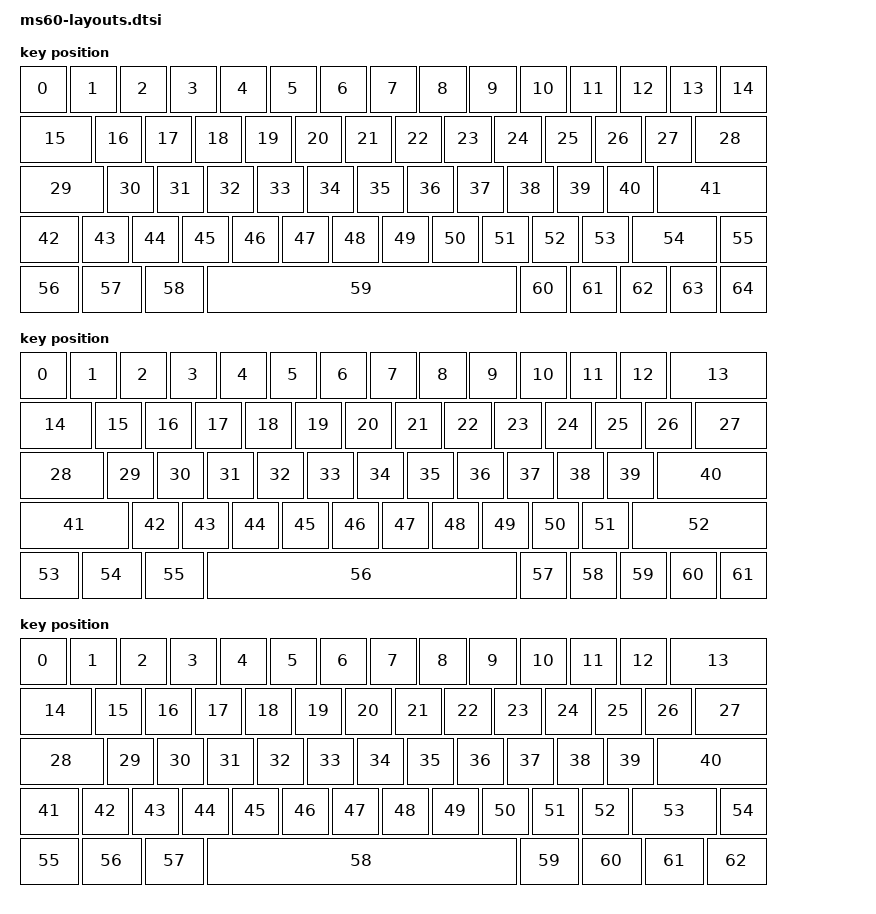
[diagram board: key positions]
#include <physical_layouts.dtsi>
/ {

    // All
    ms60_all: ms60_all {
        compatible = "zmk,physical-layout";
        display-name = "All Layout support";
	transform = <&ms60_all_transform>;
        keys  //                     w   h    x    y     rot    rx    ry
            = <&key_physical_attrs 100 100    0    0       0     0     0>
            , <&key_physical_attrs 100 100  100    0       0     0     0>
            , <&key_physical_attrs 100 100  200    0       0     0     0>
            , <&key_physical_attrs 100 100  300    0       0     0     0>
            , <&key_physical_attrs 100 100  400    0       0     0     0>
            , <&key_physical_attrs 100 100  500    0       0     0     0>
            , <&key_physical_attrs 100 100  600    0       0     0     0>
            , <&key_physical_attrs 100 100  700    0       0     0     0>
            , <&key_physical_attrs 100 100  800    0       0     0     0>
            , <&key_physical_attrs 100 100  900    0       0     0     0>
            , <&key_physical_attrs 100 100 1000    0       0     0     0>
            , <&key_physical_attrs 100 100 1100    0       0     0     0>
            , <&key_physical_attrs 100 100 1200    0       0     0     0>
            , <&key_physical_attrs 100 100 1300    0       0     0     0>
            , <&key_physical_attrs 100 100 1400    0       0     0     0>
            , <&key_physical_attrs 150 100    0  100       0     0     0>
            , <&key_physical_attrs 100 100  150  100       0     0     0>
            , <&key_physical_attrs 100 100  250  100       0     0     0>
            , <&key_physical_attrs 100 100  350  100       0     0     0>
            , <&key_physical_attrs 100 100  450  100       0     0     0>
            , <&key_physical_attrs 100 100  550  100       0     0     0>
            , <&key_physical_attrs 100 100  650  100       0     0     0>
            , <&key_physical_attrs 100 100  750  100       0     0     0>
            , <&key_physical_attrs 100 100  850  100       0     0     0>
            , <&key_physical_attrs 100 100  950  100       0     0     0>
            , <&key_physical_attrs 100 100 1050  100       0     0     0>
            , <&key_physical_attrs 100 100 1150  100       0     0     0>
            , <&key_physical_attrs 100 100 1250  100       0     0     0>
            , <&key_physical_attrs 150 100 1350  100       0     0     0>
            , <&key_physical_attrs 175 100    0  200       0     0     0>
            , <&key_physical_attrs 100 100  175  200       0     0     0>
            , <&key_physical_attrs 100 100  275  200       0     0     0>
            , <&key_physical_attrs 100 100  375  200       0     0     0>
            , <&key_physical_attrs 100 100  475  200       0     0     0>
            , <&key_physical_attrs 100 100  575  200       0     0     0>
            , <&key_physical_attrs 100 100  675  200       0     0     0>
            , <&key_physical_attrs 100 100  775  200       0     0     0>
            , <&key_physical_attrs 100 100  875  200       0     0     0>
            , <&key_physical_attrs 100 100  975  200       0     0     0>
            , <&key_physical_attrs 100 100 1075  200       0     0     0>
            , <&key_physical_attrs 100 100 1175  200       0     0     0>
            , <&key_physical_attrs 225 100 1275  200       0     0     0>
            , <&key_physical_attrs 125 100    0  300       0     0     0>
            , <&key_physical_attrs 100 100  125  300       0     0     0>
            , <&key_physical_attrs 100 100  225  300       0     0     0>
            , <&key_physical_attrs 100 100  325  300       0     0     0>
            , <&key_physical_attrs 100 100  425  300       0     0     0>
            , <&key_physical_attrs 100 100  525  300       0     0     0>
            , <&key_physical_attrs 100 100  625  300       0     0     0>
            , <&key_physical_attrs 100 100  725  300       0     0     0>
            , <&key_physical_attrs 100 100  825  300       0     0     0>
            , <&key_physical_attrs 100 100  925  300       0     0     0>
            , <&key_physical_attrs 100 100 1025  300       0     0     0>
            , <&key_physical_attrs 100 100 1125  300       0     0     0>
            , <&key_physical_attrs 175 100 1225  300       0     0     0>
            , <&key_physical_attrs 100 100 1400  300       0     0     0>
            , <&key_physical_attrs 125 100    0  400       0     0     0>
            , <&key_physical_attrs 125 100  125  400       0     0     0>
            , <&key_physical_attrs 125 100  250  400       0     0     0>
            , <&key_physical_attrs 625 100  375  400       0     0     0>
            , <&key_physical_attrs 100 100 1000  400       0     0     0>
            , <&key_physical_attrs 100 100 1100  400       0     0     0>
            , <&key_physical_attrs 100 100 1200  400       0     0     0>
            , <&key_physical_attrs 100 100 1300  400       0     0     0>
            , <&key_physical_attrs 100 100 1400  400       0     0     0>
            ;
    };

    // ANSI
    ms60_without_split: ms60_without_split {
        compatible = "zmk,physical-layout";
        display-name = "Without Split";
	transform = <&ms60_without_split_transform>;
        keys  //                     w   h    x    y     rot    rx    ry
            = <&key_physical_attrs 100 100    0    0       0     0     0>
            , <&key_physical_attrs 100 100  100    0       0     0     0>
            , <&key_physical_attrs 100 100  200    0       0     0     0>
            , <&key_physical_attrs 100 100  300    0       0     0     0>
            , <&key_physical_attrs 100 100  400    0       0     0     0>
            , <&key_physical_attrs 100 100  500    0       0     0     0>
            , <&key_physical_attrs 100 100  600    0       0     0     0>
            , <&key_physical_attrs 100 100  700    0       0     0     0>
            , <&key_physical_attrs 100 100  800    0       0     0     0>
            , <&key_physical_attrs 100 100  900    0       0     0     0>
            , <&key_physical_attrs 100 100 1000    0       0     0     0>
            , <&key_physical_attrs 100 100 1100    0       0     0     0>
            , <&key_physical_attrs 100 100 1200    0       0     0     0>
            , <&key_physical_attrs 200 100 1300    0       0     0     0>
            , <&key_physical_attrs 150 100    0  100       0     0     0>
            , <&key_physical_attrs 100 100  150  100       0     0     0>
            , <&key_physical_attrs 100 100  250  100       0     0     0>
            , <&key_physical_attrs 100 100  350  100       0     0     0>
            , <&key_physical_attrs 100 100  450  100       0     0     0>
            , <&key_physical_attrs 100 100  550  100       0     0     0>
            , <&key_physical_attrs 100 100  650  100       0     0     0>
            , <&key_physical_attrs 100 100  750  100       0     0     0>
            , <&key_physical_attrs 100 100  850  100       0     0     0>
            , <&key_physical_attrs 100 100  950  100       0     0     0>
            , <&key_physical_attrs 100 100 1050  100       0     0     0>
            , <&key_physical_attrs 100 100 1150  100       0     0     0>
            , <&key_physical_attrs 100 100 1250  100       0     0     0>
            , <&key_physical_attrs 150 100 1350  100       0     0     0>
            , <&key_physical_attrs 175 100    0  200       0     0     0>
            , <&key_physical_attrs 100 100  175  200       0     0     0>
            , <&key_physical_attrs 100 100  275  200       0     0     0>
            , <&key_physical_attrs 100 100  375  200       0     0     0>
            , <&key_physical_attrs 100 100  475  200       0     0     0>
            , <&key_physical_attrs 100 100  575  200       0     0     0>
            , <&key_physical_attrs 100 100  675  200       0     0     0>
            , <&key_physical_attrs 100 100  775  200       0     0     0>
            , <&key_physical_attrs 100 100  875  200       0     0     0>
            , <&key_physical_attrs 100 100  975  200       0     0     0>
            , <&key_physical_attrs 100 100 1075  200       0     0     0>
            , <&key_physical_attrs 100 100 1175  200       0     0     0>
            , <&key_physical_attrs 225 100 1275  200       0     0     0>
            , <&key_physical_attrs 225 100    0  300       0     0     0>
            , <&key_physical_attrs 100 100  225  300       0     0     0>
            , <&key_physical_attrs 100 100  325  300       0     0     0>
            , <&key_physical_attrs 100 100  425  300       0     0     0>
            , <&key_physical_attrs 100 100  525  300       0     0     0>
            , <&key_physical_attrs 100 100  625  300       0     0     0>
            , <&key_physical_attrs 100 100  725  300       0     0     0>
            , <&key_physical_attrs 100 100  825  300       0     0     0>
            , <&key_physical_attrs 100 100  925  300       0     0     0>
            , <&key_physical_attrs 100 100 1025  300       0     0     0>
            , <&key_physical_attrs 100 100 1125  300       0     0     0>
            , <&key_physical_attrs 275 100 1225  300       0     0     0>
            , <&key_physical_attrs 125 100    0  400       0     0     0>
            , <&key_physical_attrs 125 100  125  400       0     0     0>
            , <&key_physical_attrs 125 100  250  400       0     0     0>
            , <&key_physical_attrs 625 100  375  400       0     0     0>
            , <&key_physical_attrs 100 100 1000  400       0     0     0>
            , <&key_physical_attrs 100 100 1100  400       0     0     0>
            , <&key_physical_attrs 100 100 1200  400       0     0     0>
            , <&key_physical_attrs 100 100 1300  400       0     0     0>
            , <&key_physical_attrs 100 100 1400  400       0     0     0>
            ;
    };

    // Split BS
    ms60_625u2: ms60_625u2 {
        compatible = "zmk,physical-layout";
        display-name = "6.25u - 1.25u * 4";
	transform = <&ms60_625u2_transform>;
        keys  //                     w   h    x    y     rot    rx    ry
            = <&key_physical_attrs 100 100    0    0       0     0     0>
            , <&key_physical_attrs 100 100  100    0       0     0     0>
            , <&key_physical_attrs 100 100  200    0       0     0     0>
            , <&key_physical_attrs 100 100  300    0       0     0     0>
            , <&key_physical_attrs 100 100  400    0       0     0     0>
            , <&key_physical_attrs 100 100  500    0       0     0     0>
            , <&key_physical_attrs 100 100  600    0       0     0     0>
            , <&key_physical_attrs 100 100  700    0       0     0     0>
            , <&key_physical_attrs 100 100  800    0       0     0     0>
            , <&key_physical_attrs 100 100  900    0       0     0     0>
            , <&key_physical_attrs 100 100 1000    0       0     0     0>
            , <&key_physical_attrs 100 100 1100    0       0     0     0>
            , <&key_physical_attrs 100 100 1200    0       0     0     0>
            , <&key_physical_attrs 200 100 1300    0       0     0     0>
            , <&key_physical_attrs 150 100    0  100       0     0     0>
            , <&key_physical_attrs 100 100  150  100       0     0     0>
            , <&key_physical_attrs 100 100  250  100       0     0     0>
            , <&key_physical_attrs 100 100  350  100       0     0     0>
            , <&key_physical_attrs 100 100  450  100       0     0     0>
            , <&key_physical_attrs 100 100  550  100       0     0     0>
            , <&key_physical_attrs 100 100  650  100       0     0     0>
            , <&key_physical_attrs 100 100  750  100       0     0     0>
            , <&key_physical_attrs 100 100  850  100       0     0     0>
            , <&key_physical_attrs 100 100  950  100       0     0     0>
            , <&key_physical_attrs 100 100 1050  100       0     0     0>
            , <&key_physical_attrs 100 100 1150  100       0     0     0>
            , <&key_physical_attrs 100 100 1250  100       0     0     0>
            , <&key_physical_attrs 150 100 1350  100       0     0     0>
            , <&key_physical_attrs 175 100    0  200       0     0     0>
            , <&key_physical_attrs 100 100  175  200       0     0     0>
            , <&key_physical_attrs 100 100  275  200       0     0     0>
            , <&key_physical_attrs 100 100  375  200       0     0     0>
            , <&key_physical_attrs 100 100  475  200       0     0     0>
            , <&key_physical_attrs 100 100  575  200       0     0     0>
            , <&key_physical_attrs 100 100  675  200       0     0     0>
            , <&key_physical_attrs 100 100  775  200       0     0     0>
            , <&key_physical_attrs 100 100  875  200       0     0     0>
            , <&key_physical_attrs 100 100  975  200       0     0     0>
            , <&key_physical_attrs 100 100 1075  200       0     0     0>
            , <&key_physical_attrs 100 100 1175  200       0     0     0>
            , <&key_physical_attrs 225 100 1275  200       0     0     0>
            , <&key_physical_attrs 125 100    0  300       0     0     0>
            , <&key_physical_attrs 100 100  125  300       0     0     0>
            , <&key_physical_attrs 100 100  225  300       0     0     0>
            , <&key_physical_attrs 100 100  325  300       0     0     0>
            , <&key_physical_attrs 100 100  425  300       0     0     0>
            , <&key_physical_attrs 100 100  525  300       0     0     0>
            , <&key_physical_attrs 100 100  625  300       0     0     0>
            , <&key_physical_attrs 100 100  725  300       0     0     0>
            , <&key_physical_attrs 100 100  825  300       0     0     0>
            , <&key_physical_attrs 100 100  925  300       0     0     0>
            , <&key_physical_attrs 100 100 1025  300       0     0     0>
            , <&key_physical_attrs 100 100 1125  300       0     0     0>
            , <&key_physical_attrs 175 100 1225  300       0     0     0>
            , <&key_physical_attrs 100 100 1400  300       0     0     0>
            , <&key_physical_attrs 125 100    0  400       0     0     0>
            , <&key_physical_attrs 125 100  125  400       0     0     0>
            , <&key_physical_attrs 125 100  250  400       0     0     0>
            , <&key_physical_attrs 625 100  375  400       0     0     0>
            , <&key_physical_attrs 125 100 1000  400       0     0     0>
            , <&key_physical_attrs 125 100 1125  400       0     0     0>
            , <&key_physical_attrs 125 100 1250  400       0     0     0>
            , <&key_physical_attrs 125 100 1375  400       0     0     0>
            ;
    };

   ms60_7u: ms60_7u {
        compatible = "zmk,physical-layout";
        display-name = "7u Layout";
	transform = <&ms60_7u_transform>;
        keys  //                     w   h    x    y     rot    rx    ry
            = <&key_physical_attrs 100 100    0    0       0     0     0>
            , <&key_physical_attrs 100 100  100    0       0     0     0>
            , <&key_physical_attrs 100 100  200    0       0     0     0>
            , <&key_physical_attrs 100 100  300    0       0     0     0>
            , <&key_physical_attrs 100 100  400    0       0     0     0>
            , <&key_physical_attrs 100 100  500    0       0     0     0>
            , <&key_physical_attrs 100 100  600    0       0     0     0>
            , <&key_physical_attrs 100 100  700    0       0     0     0>
            , <&key_physical_attrs 100 100  800    0       0     0     0>
            , <&key_physical_attrs 100 100  900    0       0     0     0>
            , <&key_physical_attrs 100 100 1000    0       0     0     0>
            , <&key_physical_attrs 100 100 1100    0       0     0     0>
            , <&key_physical_attrs 100 100 1200    0       0     0     0>
            , <&key_physical_attrs 100 100 1300    0       0     0     0>
            , <&key_physical_attrs 100 100 1400    0       0     0     0>
            , <&key_physical_attrs 150 100    0  100       0     0     0>
            , <&key_physical_attrs 100 100  150  100       0     0     0>
            , <&key_physical_attrs 100 100  250  100       0     0     0>
            , <&key_physical_attrs 100 100  350  100       0     0     0>
            , <&key_physical_attrs 100 100  450  100       0     0     0>
            , <&key_physical_attrs 100 100  550  100       0     0     0>
            , <&key_physical_attrs 100 100  650  100       0     0     0>
            , <&key_physical_attrs 100 100  750  100       0     0     0>
            , <&key_physical_attrs 100 100  850  100       0     0     0>
            , <&key_physical_attrs 100 100  950  100       0     0     0>
            , <&key_physical_attrs 100 100 1050  100       0     0     0>
            , <&key_physical_attrs 100 100 1150  100       0     0     0>
            , <&key_physical_attrs 100 100 1250  100       0     0     0>
            , <&key_physical_attrs 150 100 1350  100       0     0     0>
            , <&key_physical_attrs 175 100    0  200       0     0     0>
            , <&key_physical_attrs 100 100  175  200       0     0     0>
            , <&key_physical_attrs 100 100  275  200       0     0     0>
            , <&key_physical_attrs 100 100  375  200       0     0     0>
            , <&key_physical_attrs 100 100  475  200       0     0     0>
            , <&key_physical_attrs 100 100  575  200       0     0     0>
            , <&key_physical_attrs 100 100  675  200       0     0     0>
            , <&key_physical_attrs 100 100  775  200       0     0     0>
            , <&key_physical_attrs 100 100  875  200       0     0     0>
            , <&key_physical_attrs 100 100  975  200       0     0     0>
            , <&key_physical_attrs 100 100 1075  200       0     0     0>
            , <&key_physical_attrs 100 100 1175  200       0     0     0>
            , <&key_physical_attrs 225 100 1275  200       0     0     0>
            , <&key_physical_attrs 125 100    0  300       0     0     0>
            , <&key_physical_attrs 100 100  125  300       0     0     0>
            , <&key_physical_attrs 100 100  225  300       0     0     0>
            , <&key_physical_attrs 100 100  325  300       0     0     0>
            , <&key_physical_attrs 100 100  425  300       0     0     0>
            , <&key_physical_attrs 100 100  525  300       0     0     0>
            , <&key_physical_attrs 100 100  625  300       0     0     0>
            , <&key_physical_attrs 100 100  725  300       0     0     0>
            , <&key_physical_attrs 100 100  825  300       0     0     0>
            , <&key_physical_attrs 100 100  925  300       0     0     0>
            , <&key_physical_attrs 100 100 1025  300       0     0     0>
            , <&key_physical_attrs 100 100 1125  300       0     0     0>
            , <&key_physical_attrs 175 100 1225  300       0     0     0>
            , <&key_physical_attrs 100 100 1400  300       0     0     0>
            , <&key_physical_attrs 150 100    0  400       0     0     0>
            , <&key_physical_attrs 100 100  150  400       0     0     0>
            , <&key_physical_attrs 150 100  250  400       0     0     0>
            , <&key_physical_attrs 700 100  400  400       0     0     0>
            , <&key_physical_attrs 150 100 1100  400       0     0     0>
            , <&key_physical_attrs 100 100 1250  400       0     0     0>
            , <&key_physical_attrs 150 100 1350  400       0     0     0>
            ;
    };
    position_map {
        compatible = "zmk,physical-layout-position-map";

        ms60_all {
            physical-layout = <&ms60_all>;
            positions = <13 14 42 43 54 55 60 63>;
        };

        ms60_without_split {
            physical-layout = <&ms60_without_split>;
            positions = <13 62 41 63 52 64 57 60>;
        };

        ms60_625u2 {
            physical-layout = <&ms60_625u2>;
            positions = <13 63 41 42 53 54 59 64>;
        };
	    ms60_7u {
            physical-layout = <&ms60_7u>;
            positions = <13 14 42 43 54 55 63 64>;
        };
        
    };
};
